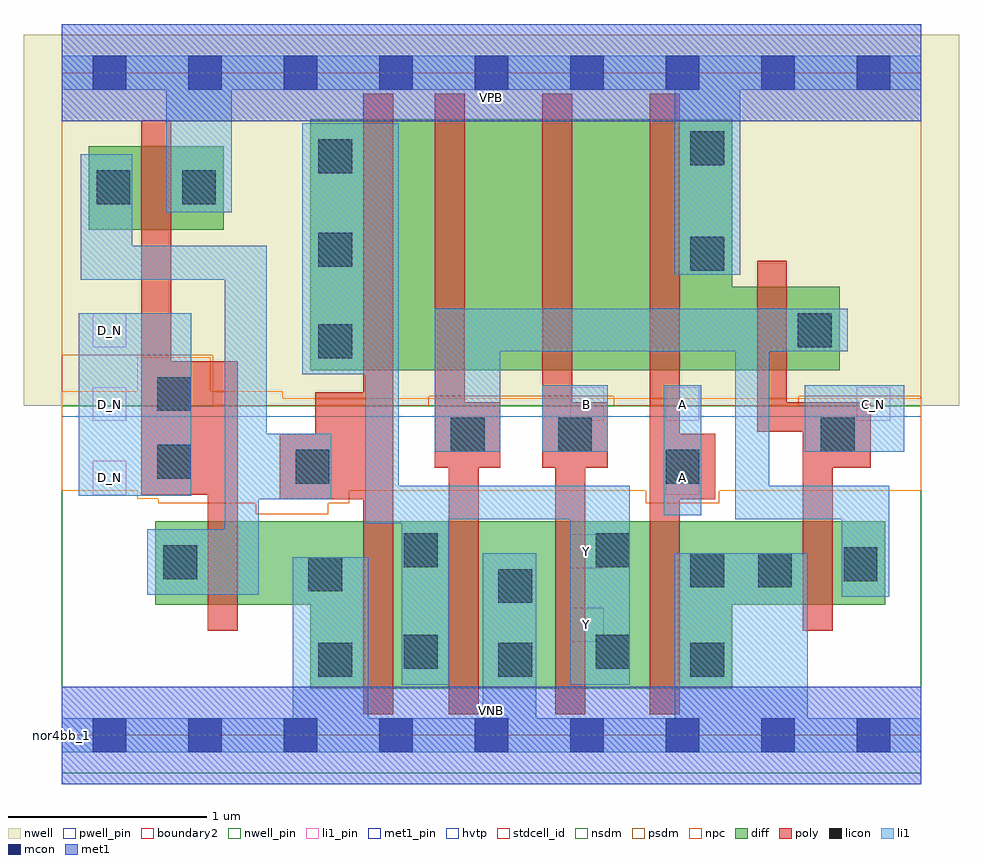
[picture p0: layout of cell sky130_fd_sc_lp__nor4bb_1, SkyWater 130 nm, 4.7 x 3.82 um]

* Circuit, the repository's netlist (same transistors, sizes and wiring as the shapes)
* Copyright 2020 The SkyWater PDK Authors
*
* Licensed under the Apache License, Version 2.0 (the "License");
* you may not use this file except in compliance with the License.
* You may obtain a copy of the License at
*
*     https://www.apache.org/licenses/LICENSE-2.0
*
* Unless required by applicable law or agreed to in writing, software
* distributed under the License is distributed on an "AS IS" BASIS,
* WITHOUT WARRANTIES OR CONDITIONS OF ANY KIND, either express or implied.
* See the License for the specific language governing permissions and
* limitations under the License.
*
* SPDX-License-Identifier: Apache-2.0

.SUBCKT sky130_fd_sc_lp__nor4bb_1 A B C_N D_N VGND VNB VPB VPWR Y
*.PININFO A:I B:I C_N:I D_N:I VGND:I VNB:I VPB:I VPWR:I Y:O
MMP0 VPWR A sndPA VPB sky130_fd_pr__pfet_01v8_hvt m=1 w=1.26U l=0.15U mult=1 sa=0.265
+ sb=0.265 sd=0.28 area=0.063 perim=1.14
MMP1 sndPA B sndPB VPB sky130_fd_pr__pfet_01v8_hvt m=1 w=1.26U l=0.15U mult=1 sa=0.265
+ sb=0.265 sd=0.28 area=0.063 perim=1.14
MMP2 sndPB C sndPC VPB sky130_fd_pr__pfet_01v8_hvt m=1 w=1.26U l=0.15U mult=1 sa=0.265
+ sb=0.265 sd=0.28 area=0.063 perim=1.14
MMP3 sndPC D Y VPB sky130_fd_pr__pfet_01v8_hvt m=1 w=1.26U l=0.15U mult=1 sa=0.265
+ sb=0.265 sd=0.28 area=0.063 perim=1.14
MMIP2 C C_N VPWR VPB sky130_fd_pr__pfet_01v8_hvt m=1 w=0.42U l=0.15U mult=1 sa=0.265
+ sb=0.265 sd=0.28 area=0.063 perim=1.14
MMIP3 D D_N VPWR VPB sky130_fd_pr__pfet_01v8_hvt m=1 w=0.42U l=0.15U mult=1 sa=0.265
+ sb=0.265 sd=0.28 area=0.063 perim=1.14
MMN0 Y A VGND VNB sky130_fd_pr__nfet_01v8 m=1 w=0.84U l=0.15U mult=1 sa=0.265 sb=0.265
+ sd=0.28 area=0.063 perim=1.14
MMN1 Y B VGND VNB sky130_fd_pr__nfet_01v8 m=1 w=0.84U l=0.15U mult=1 sa=0.265 sb=0.265
+ sd=0.28 area=0.063 perim=1.14
MMN2 Y C VGND VNB sky130_fd_pr__nfet_01v8 m=1 w=0.84U l=0.15U mult=1 sa=0.265 sb=0.265
+ sd=0.28 area=0.063 perim=1.14
MMN3 Y D VGND VNB sky130_fd_pr__nfet_01v8 m=1 w=0.84U l=0.15U mult=1 sa=0.265 sb=0.265
+ sd=0.28 area=0.063 perim=1.14
MMIN2 C C_N VGND VNB sky130_fd_pr__nfet_01v8 m=1 w=0.42U l=0.15U mult=1 sa=0.265
+ sb=0.265 sd=0.28 area=0.063 perim=1.14
MMIN3 D D_N VGND VNB sky130_fd_pr__nfet_01v8 m=1 w=0.42U l=0.15U mult=1 sa=0.265
+ sb=0.265 sd=0.28 area=0.063 perim=1.14
.ENDS sky130_fd_sc_lp__nor4bb_1

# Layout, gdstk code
import gdstk
lib = gdstk.Library(unit=1e-6, precision=1e-09)
def R(c, l, rs):  # rectangles x0, y0, x1, y1
    for r in rs: c.add(gdstk.rectangle(r[:2], r[2:], *l))
def A(c, l, x, y, w, h, nx, ny, dx, dy):  # array of equal rectangles
    R(c, l, [(x+i*dx, y+j*dy, x+i*dx+w, y+j*dy+h) for i in range(nx) for j in range(ny)])
def P(c, l, *ps):  # polygons
    for p in ps: c.add(gdstk.Polygon(p, *l))
nwell_pin = (64, 16)
nwell = (64, 20)
diff = (65, 20)
poly = (66, 20)
licon = (66, 44)
li1_pin = (67, 16)
li1 = (67, 20)
mcon = (67, 44)
met1_pin = (68, 16)
met1 = (68, 20)
hvtp = (78, 44)
stdcell_id = (81, 4)
nsdm = (93, 44)
psdm = (94, 20)
npc = (95, 20)
pwell_pin = (122, 16)
boundary2 = (236, 0)

sky130_fd_sc_lp__nor4bb_ = lib.new_cell('sky130_fd_sc_lp__nor4bb_1')
R(sky130_fd_sc_lp__nor4bb_, nwell_pin, [(0,3.085,4.32,3.33)])
R(sky130_fd_sc_lp__nor4bb_, nwell, [(-0.19,1.655,4.51,3.52)])
R(sky130_fd_sc_lp__nor4bb_, diff, [(0.135,2.54,0.815,2.96)])
P(sky130_fd_sc_lp__nor4bb_, diff, [(3.91,2.255),(3.37,2.255),(3.37,3.095),(1.25,3.095),(1.25,1.835),(3.91,1.835)],
  [(4.14,1.075),(0.47,1.075),(0.47,0.655),(1.25,0.655),(1.25,0.235),(3.37,0.235),(3.37,0.655),(4.14,0.655)])
P(sky130_fd_sc_lp__nor4bb_, poly, [(0.885,1.88),(0.55,1.88),(0.55,3.09),(0.4,3.09),(0.4,1.21),(0.735,1.21),(0.735,0.525),(0.885,0.525)],
  [(1.665,3.225),(1.515,3.225),(1.515,1.725),(1.275,1.725),(1.275,1.515),(1.095,1.515),(1.095,1.185),(1.515,1.185),(1.515,0.105),(1.665,0.105)],
  [(2.205,1.675),(2.025,1.675),(2.025,3.225),(1.875,3.225),(1.875,1.345),(1.945,1.345),(1.945,0.105),(2.095,0.105),(2.095,1.345),(2.205,1.345)],
  [(2.745,1.675),(2.565,1.675),(2.565,3.225),(2.415,3.225),(2.415,1.345),(2.48,1.345),(2.48,0.105),(2.63,0.105),(2.63,1.345),(2.745,1.345)],
  [(3.285,1.515),(3.105,1.515),(3.105,3.225),(2.955,3.225),(2.955,0.105),(3.105,0.105),(3.105,1.185),(3.285,1.185)],
  [(4.065,1.675),(3.645,1.675),(3.645,2.385),(3.495,2.385),(3.495,1.525),(3.725,1.525),(3.725,0.525),(3.875,0.525),(3.875,1.345),(4.065,1.345)])
R(sky130_fd_sc_lp__nor4bb_, licon, [(1.29,0.295,1.46,0.465), (2.195,0.295,2.365,0.465), (3.16,0.295,3.33,0.465), (1.72,0.335,1.89,0.505), (2.685,0.335,2.855,0.505), (2.195,0.665,2.365,0.835), (1.24,0.725,1.41,0.895), (3.16,0.745,3.33,0.915), (3.5,0.745,3.67,0.915), (3.93,0.775,4.1,0.945), (0.51,0.785,0.68,0.955), (1.72,0.845,1.89,1.015), (2.685,0.845,2.855,1.015), (1.175,1.265,1.345,1.435), (3.035,1.265,3.205,1.435), (0.48,1.29,0.65,1.46), (1.955,1.425,2.125,1.595), (2.495,1.425,2.665,1.595), (3.815,1.425,3.985,1.595), (0.48,1.63,0.65,1.8), (1.29,1.895,1.46,2.065), (3.7,1.95,3.87,2.12), (3.16,2.335,3.33,2.505), (1.29,2.355,1.46,2.525), (0.175,2.67,0.345,2.84), (0.605,2.67,0.775,2.84), (1.29,2.825,1.46,2.995), (3.16,2.865,3.33,3.035)])
A(sky130_fd_sc_lp__nor4bb_, li1_pin, 0.155, 1.21, 0.17, 0.17, 1, 3, 0, 0.37)
R(sky130_fd_sc_lp__nor4bb_, li1_pin, [(2.555,0.47,2.725,0.64), (2.555,0.84,2.725,1.01), (3.035,1.21,3.205,1.38), (2.555,1.58,2.725,1.75), (3.035,1.58,3.205,1.75), (3.995,1.58,4.165,1.75)])
R(sky130_fd_sc_lp__nor4bb_, li1, [(3.025,1.105,3.215,1.76), (0.085,1.205,0.65,2.12), (2.415,1.425,2.745,1.76), (3.735,1.425,4.235,1.76)])
P(sky130_fd_sc_lp__nor4bb_, li1, [(3.08,2.315),(3.08,3.245),(0.855,3.245),(0.855,2.63),(0.525,2.63),(0.525,3.245),(0,3.245),(0,3.415),(4.32,3.415),(4.32,3.245),(3.41,3.245),(3.41,2.315)],
  [(2.115,0.085),(2.115,0.915),(2.385,0.915),(2.385,0.085),(3.08,0.085),(3.08,0.915),(3.75,0.915),(3.75,0.085),(4.32,0.085),(4.32,-0.085),(0,-0.085),(0,0.085),(1.16,0.085),(1.16,0.895),(1.54,0.895),(1.54,0.085)],
  [(1.875,2.145),(3.95,2.145),(3.95,1.93),(3.555,1.93),(3.555,1.255),(4.16,1.255),(4.16,0.695),(3.92,0.695),(3.92,1.085),(3.385,1.085),(3.385,1.93),(2.205,1.93),(2.205,1.425),(1.875,1.425)],
  [(1.695,1.255),(2.855,1.255),(2.855,0.255),(2.555,0.255),(2.555,1.085),(1.945,1.085),(1.945,0.255),(1.71,0.255),(1.71,1.065),(1.525,1.065),(1.525,1.815),(1.21,1.815),(1.21,3.075),(1.695,3.075)],
  [(0.355,2.46),(1.03,2.46),(1.03,1.515),(1.355,1.515),(1.355,1.185),(0.99,1.185),(0.99,0.705),(0.43,0.705),(0.43,1.035),(0.82,1.035),(0.82,2.29),(0.095,2.29),(0.095,2.92),(0.355,2.92)])
A(sky130_fd_sc_lp__nor4bb_, mcon, 0.155, -0.085, 0.17, 0.17, 9, 2, 0.48, 3.33)
R(sky130_fd_sc_lp__nor4bb_, met1_pin, [(0,0,4.32,0.245), (0,3.085,4.32,3.33)])
R(sky130_fd_sc_lp__nor4bb_, met1, [(0,-0.245,4.32,0.245), (0,3.085,4.32,3.575)])
R(sky130_fd_sc_lp__nor4bb_, hvtp, [(0,1.6,4.32,3.33)])
R(sky130_fd_sc_lp__nor4bb_, stdcell_id, [(0,0,4.32,3.33)])
R(sky130_fd_sc_lp__nor4bb_, nsdm, [(0,-0.19,4.32,1.655)])
P(sky130_fd_sc_lp__nor4bb_, psdm, [(4.32,3.52),(0,3.52),(0,1.91),(0.76,1.91),(0.76,1.655),(1.845,1.655),(1.845,1.705),(2.775,1.705),(2.775,1.655),(3.705,1.655),(3.705,1.705),(4.32,1.705)])
P(sky130_fd_sc_lp__nor4bb_, npc, [(4.32,1.695),(1.11,1.695),(1.11,1.73),(0.75,1.73),(0.75,1.9),(0.38,1.9),(0.38,1.73),(0,1.73),(0,1.23),(0.38,1.23),(0.38,1.19),(0.485,1.19),(0.485,1.165),(0.975,1.165),(0.975,1.11),(1.34,1.11),(1.34,1.165),(1.445,1.165),(1.445,1.23),(2.935,1.23),(2.935,1.165),(3.305,1.165),(3.305,1.23),(4.32,1.23)])
R(sky130_fd_sc_lp__nor4bb_, pwell_pin, [(0,0,4.32,0.245)])
R(sky130_fd_sc_lp__nor4bb_, boundary2, [(0,0,4.32,3.33)])
sky130_fd_sc_lp__nor4bb_.add(gdstk.Label('VNB', (2.16,0.123), layer=64, texttype=59))
sky130_fd_sc_lp__nor4bb_.add(gdstk.Label('VPB', (2.16,3.208), layer=64, texttype=5))
sky130_fd_sc_lp__nor4bb_.add(gdstk.Label('nor4bb_1', (0,0), layer=83, texttype=44))
sky130_fd_sc_lp__nor4bb_.add(gdstk.Label('VPWR', (2.16,3.208), layer=68, texttype=5))
sky130_fd_sc_lp__nor4bb_.add(gdstk.Label('VGND', (2.16,0.123), layer=68, texttype=5))
sky130_fd_sc_lp__nor4bb_.add(gdstk.Label('A', (3.12,1.295), layer=67, texttype=5))
sky130_fd_sc_lp__nor4bb_.add(gdstk.Label('A', (3.12,1.665), layer=67, texttype=5))
sky130_fd_sc_lp__nor4bb_.add(gdstk.Label('B', (2.64,1.665), layer=67, texttype=5))
sky130_fd_sc_lp__nor4bb_.add(gdstk.Label('D_N', (0.24,1.295), layer=67, texttype=5))
sky130_fd_sc_lp__nor4bb_.add(gdstk.Label('D_N', (0.24,1.665), layer=67, texttype=5))
sky130_fd_sc_lp__nor4bb_.add(gdstk.Label('D_N', (0.24,2.035), layer=67, texttype=5))
sky130_fd_sc_lp__nor4bb_.add(gdstk.Label('Y', (2.64,0.555), layer=67, texttype=5))
sky130_fd_sc_lp__nor4bb_.add(gdstk.Label('Y', (2.64,0.925), layer=67, texttype=5))
sky130_fd_sc_lp__nor4bb_.add(gdstk.Label('C_N', (4.08,1.665), layer=67, texttype=5))

lib.write_gds('sky130_fd_sc_lp__nor4bb_1.gds')
